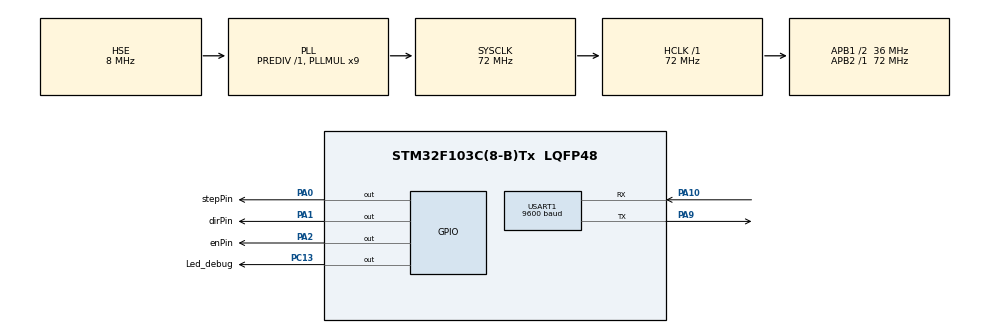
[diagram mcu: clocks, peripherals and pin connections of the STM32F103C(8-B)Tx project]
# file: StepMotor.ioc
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Mcu.Family=STM32F1
Mcu.Name=STM32F103C(8-B)Tx
Mcu.Package=LQFP48
NVIC.PriorityGroup=NVIC_PRIORITYGROUP_4
PA0-WKUP.GPIO_Label=stepPin
PA0-WKUP.Signal=GPIO_Output
PA1.GPIO_Label=dirPin
PA1.Signal=GPIO_Output
PA10.Mode=Asynchronous
PA10.Signal=USART1_RX
PA13.Mode=Serial_Wire
PA13.Signal=SYS_JTMS-SWDIO
PA14.Mode=Serial_Wire
PA14.Signal=SYS_JTCK-SWCLK
PA2.GPIO_Label=enPin
PA2.Signal=GPIO_Output
PA9.Mode=Asynchronous
PA9.Signal=USART1_TX
PC13-TAMPER-RTC.GPIO_Label=Led_debug
PC13-TAMPER-RTC.Signal=GPIO_Output
PD0-OSC_IN.Mode=HSE-External-Oscillator
PD0-OSC_IN.Signal=RCC_OSC_IN
PD1-OSC_OUT.Mode=HSE-External-Oscillator
PD1-OSC_OUT.Signal=RCC_OSC_OUT
ProjectManager.HeapSize=0x200
ProjectManager.StackSize=0x400
ProjectManager.TargetToolchain=STM32CubeIDE
RCC.AHBFreq_Value=72000000
RCC.APB1CLKDivider=RCC_HCLK_DIV2
RCC.APB1Freq_Value=36000000
RCC.APB1TimFreq_Value=72000000
RCC.APB2Freq_Value=72000000
RCC.APB2TimFreq_Value=72000000
RCC.HCLKFreq_Value=72000000
RCC.PLLMUL=RCC_PLL_MUL9
RCC.PLLSourceVirtual=RCC_PLLSOURCE_HSE
RCC.SYSCLKFreq_VALUE=72000000
RCC.SYSCLKSource=RCC_SYSCLKSOURCE_PLLCLK
RCC.USBFreq_Value=72000000
USART1.BaudRate=9600
USART1.VirtualMode=VM_ASYNC
board=custom

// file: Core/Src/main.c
/* USER CODE BEGIN Header */
/**
  ******************************************************************************
  * @file           : main.c
  * @brief          : Main program body
  ******************************************************************************
  * @attention
  *
  * <h2><center>&copy; Copyright (c) 2023 STMicroelectronics.
  * All rights reserved.</center></h2>
  *
  * This software component is licensed by ST under BSD 3-Clause license,
  * the "License"; You may not use this file except in compliance with the
  * License. You may obtain a copy of the License at:
  *                        opensource.org/licenses/BSD-3-Clause
  *
  ******************************************************************************
  */
/* USER CODE END Header */
#include "main.h"

/* USER CODE BEGIN Includes */
#include <string.h>
#include <math.h>
/* USER CODE END Includes */

/* USER CODE BEGIN PTD */
#define Sag 43
#define Sol 45
/* USER CODE END PTD */

UART_HandleTypeDef huart1;

/* USER CODE BEGIN PV */
uint8_t rxData[10];
uint8_t txData[10];
uint8_t global_aci_deger = 0;
uint8_t referans_aci_degeri= 90;
uint8_t yon_durumu = 1;
/* USER CODE END PV */

void SystemClock_Config(void);
static void MX_GPIO_Init(void);
static void MX_USART1_UART_Init(void);
/* USER CODE BEGIN PFP */
void yon(uint8_t);
void aci(uint8_t);
void aciDegis(uint8_t);
/* USER CODE END PFP */

int main(void)
{
  /* USER CODE BEGIN 1 */
   uint8_t gelen_deger = 0;
   HAL_GPIO_WritePin(enPin_GPIO_Port, enPin_Pin, 0);
  /* USER CODE END 1 */

  /* MCU Configuration--------------------------------------------------------*/

  /* Reset of all peripherals, Initializes the Flash interface and the Systick. */
  HAL_Init();

  /* Configure the system clock */
  SystemClock_Config();

  /* Initialize all configured peripherals */
  MX_GPIO_Init();
  MX_USART1_UART_Init();

  /* Infinite loop */
  while (1)
  {

    /* USER CODE BEGIN 3 */
	HAL_UART_Transmit(&huart1, (uint8_t*)rxData, strlen(rxData), 100); // rxData verisi yolla
	HAL_UART_Receive(&huart1, (uint8_t*)rxData,  10, 100); // txData verisini al

	// Gelen veriyi aci degerine donusturme
	gelen_deger = (uint8_t)(rxData[0]);

	// Gelen veriye gore aci donme
	aci(gelen_deger);

	sprintf(txData, "%d", rxData);
  }
  /* USER CODE END 3 */
}

void SystemClock_Config(void)
{
  RCC_OscInitTypeDef RCC_OscInitStruct = {0};
  RCC_ClkInitTypeDef RCC_ClkInitStruct = {0};

  /** Initializes the RCC Oscillators according to the specified parameters
  * in the RCC_OscInitTypeDef structure.
  */
  RCC_OscInitStruct.OscillatorType = RCC_OSCILLATORTYPE_HSE;
  RCC_OscInitStruct.HSEState = RCC_HSE_ON;
  RCC_OscInitStruct.HSEPredivValue = RCC_HSE_PREDIV_DIV1;
  RCC_OscInitStruct.HSIState = RCC_HSI_ON;
  RCC_OscInitStruct.PLL.PLLState = RCC_PLL_ON;
  RCC_OscInitStruct.PLL.PLLSource = RCC_PLLSOURCE_HSE;
  RCC_OscInitStruct.PLL.PLLMUL = RCC_PLL_MUL9;
  if (HAL_RCC_OscConfig(&RCC_OscInitStruct) != HAL_OK)
  {
    Error_Handler();
  }
  /** Initializes the CPU, AHB and APB buses clocks
  */
  RCC_ClkInitStruct.ClockType = RCC_CLOCKTYPE_HCLK|RCC_CLOCKTYPE_SYSCLK
                              |RCC_CLOCKTYPE_PCLK1|RCC_CLOCKTYPE_PCLK2;
  RCC_ClkInitStruct.SYSCLKSource = RCC_SYSCLKSOURCE_PLLCLK;
  RCC_ClkInitStruct.AHBCLKDivider = RCC_SYSCLK_DIV1;
  RCC_ClkInitStruct.APB1CLKDivider = RCC_HCLK_DIV2;
  RCC_ClkInitStruct.APB2CLKDivider = RCC_HCLK_DIV1;

  if (HAL_RCC_ClockConfig(&RCC_ClkInitStruct, FLASH_LATENCY_2) != HAL_OK)
  {
    Error_Handler();
  }
}

static void MX_USART1_UART_Init(void)
{

  huart1.Instance = USART1;
  huart1.Init.BaudRate = 9600;
  huart1.Init.WordLength = UART_WORDLENGTH_8B;
  huart1.Init.StopBits = UART_STOPBITS_1;
  huart1.Init.Parity = UART_PARITY_NONE;
  huart1.Init.Mode = UART_MODE_TX_RX;
  huart1.Init.HwFlowCtl = UART_HWCONTROL_NONE;
  huart1.Init.OverSampling = UART_OVERSAMPLING_16;
  if (HAL_UART_Init(&huart1) != HAL_OK)
  {
    Error_Handler();
  }

}

static void MX_GPIO_Init(void)
{
  GPIO_InitTypeDef GPIO_InitStruct = {0};

  /* GPIO Ports Clock Enable */
  __HAL_RCC_GPIOC_CLK_ENABLE();
  __HAL_RCC_GPIOD_CLK_ENABLE();
  __HAL_RCC_GPIOA_CLK_ENABLE();

  /*Configure GPIO pin Output Level */
  HAL_GPIO_WritePin(Led_debug_GPIO_Port, Led_debug_Pin, GPIO_PIN_RESET);

  /*Configure GPIO pin Output Level */
  HAL_GPIO_WritePin(GPIOA, stepPin_Pin|dirPin_Pin|enPin_Pin, GPIO_PIN_RESET);

  /*Configure GPIO pin : Led_debug_Pin */
  GPIO_InitStruct.Pin = Led_debug_Pin;
  GPIO_InitStruct.Mode = GPIO_MODE_OUTPUT_PP;
  GPIO_InitStruct.Pull = GPIO_NOPULL;
  GPIO_InitStruct.Speed = GPIO_SPEED_FREQ_LOW;
  HAL_GPIO_Init(Led_debug_GPIO_Port, &GPIO_InitStruct);

  /*Configure GPIO pins : stepPin_Pin dirPin_Pin enPin_Pin */
  GPIO_InitStruct.Pin = stepPin_Pin|dirPin_Pin|enPin_Pin;
  GPIO_InitStruct.Mode = GPIO_MODE_OUTPUT_PP;
  GPIO_InitStruct.Pull = GPIO_NOPULL;
  GPIO_InitStruct.Speed = GPIO_SPEED_FREQ_LOW;
  HAL_GPIO_Init(GPIOA, &GPIO_InitStruct);

}

/* USER CODE BEGIN 4 */

// Direksiyonun yonunu degistirme
void yon(uint8_t directionState) // Sag
{

	if(directionState>0)
	{

	}
	else if()
}
// Direksiyonun acisini degistirme
void aci(uint8_t gelen_deger)
{
    sayi = gelen_deger - ref; // 120 - 90  = 30
	if(sayi > 0)
	{
		for(int i = 0; i< directionState; i++)
		{
			HAL_GPIO_WritePin(GPIOA, Pin_1, 1);
		}
	}
	else if(sayi < 0) // 60 - 90 = -30
	{
		for(int i = 0; i< directionState; i++)
		{
			HAL_GPIO_WritePin(GPIOA, Pin_1, 0);
		}
	}
}

// Aci degerinin hesaplanmasi
void derece_don(uint8_t sayi)
{
	for(int i = 0; i< sayi; i++)
	{
	  HAL_GPIO_WritePin(stepPin_GPIO_Port, stepPin_Pin, 0);
	  HAL_Delay(1);
	  HAL_GPIO_WritePin(stepPin_GPIO_Port, stepPin_Pin, 1);
	  HAL_Delay(1);
	}
}

/* USER CODE END 4 */

void Error_Handler(void)
{
  __disable_irq();
  while (1)
  {
  }
}

/************************ (C) COPYRIGHT STMicroelectronics *****END OF FILE****/
